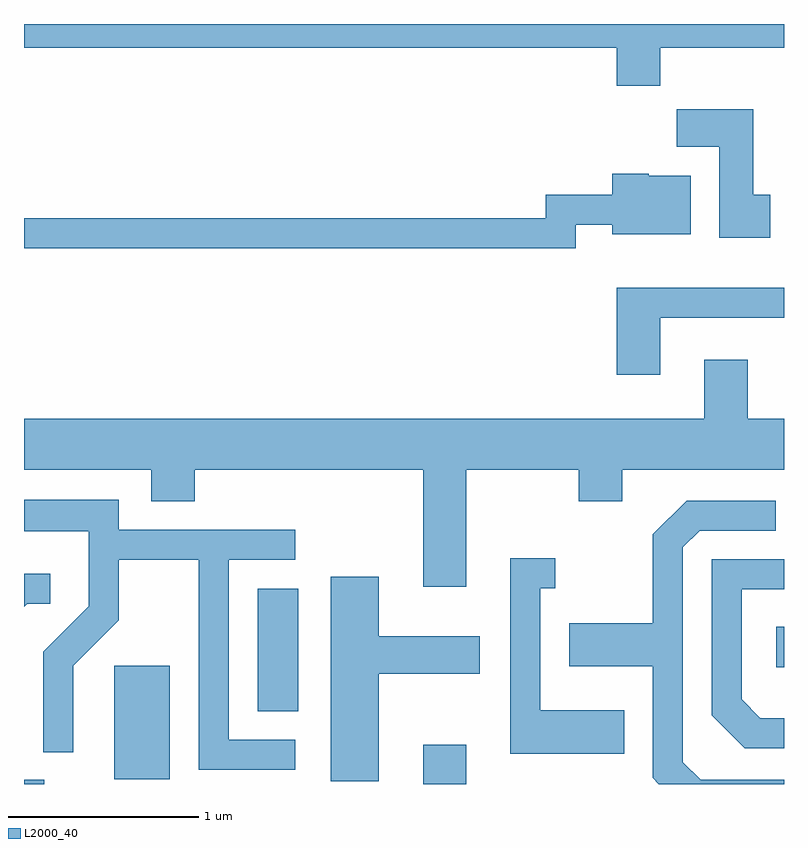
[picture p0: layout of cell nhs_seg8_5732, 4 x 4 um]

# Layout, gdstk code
import gdstk
lib = gdstk.Library(unit=1e-6, precision=1e-09)
def R(c, l, rs):  # rectangles x0, y0, x1, y1
    for r in rs: c.add(gdstk.rectangle(r[:2], r[2:], *l))
def P(c, l, *ps):  # polygons
    for p in ps: c.add(gdstk.Polygon(p, *l))
L2000_40 = (2000, 40)

nhs_seg8_5732 = lib.new_cell('nhs_seg8_5732')
R(nhs_seg8_5732, L2000_40, [(357.611,1810.342,357.718,1810.364), (359.711,1810.342,359.939,1810.549), (358.086,1810.366,358.379,1810.964), (358.841,1810.726,359.054,1811.369), (361.571,1810.956,361.611,1811.169)])
P(nhs_seg8_5732, L2000_40, [(360.959,1814.216),(361.611,1814.216),(361.611,1814.342),(357.611,1814.342),(357.611,1814.216),(360.731,1814.216),(360.731,1814.016),(360.959,1814.016)],
  [(361.539,1813.444),(361.449,1813.444),(361.449,1813.894),(361.046,1813.894),(361.046,1813.696),(361.271,1813.696),(361.271,1813.216),(361.539,1813.216)],
  [(360.514,1813.286),(360.706,1813.286),(360.706,1813.236),(361.119,1813.236),(361.119,1813.544),(360.9,1813.544),(360.9,1813.554),(360.706,1813.554),(360.706,1813.444),(360.356,1813.444),(360.356,1813.319),(357.611,1813.319),(357.611,1813.161),(360.514,1813.161)],
  [(360.959,1812.796),(361.611,1812.796),(361.611,1812.954),(360.731,1812.954),(360.731,1812.496),(360.959,1812.496)],
  [(359.939,1811.996),(360.531,1811.996),(360.531,1811.831),(360.759,1811.831),(360.759,1811.996),(361.611,1811.996),(361.611,1812.264),(361.419,1812.264),(361.419,1812.574),(361.191,1812.574),(361.191,1812.264),(357.611,1812.264),(357.611,1811.996),(358.281,1811.996),(358.281,1811.831),(358.509,1811.831),(358.509,1811.996),(359.711,1811.996),(359.711,1811.381),(359.939,1811.381)],
  [(359.038,1810.574),(358.689,1810.574),(358.689,1811.521),(359.038,1811.521),(359.038,1811.679),(358.109,1811.679),(358.109,1811.839),(357.611,1811.839),(357.611,1811.671),(357.951,1811.671),(357.951,1811.277),(357.711,1811.037),(357.711,1810.508),(357.869,1810.508),(357.869,1810.964),(358.109,1811.204),(358.109,1811.521),(358.531,1811.521),(358.531,1810.416),(359.038,1810.416)],
  [(361.611,1810.364),(361.172,1810.364),(361.079,1810.457),(361.079,1811.589),(361.167,1811.676),(361.568,1811.676),(361.568,1811.834),(361.099,1811.834),(360.921,1811.657),(360.921,1811.189),(360.481,1811.189),(360.481,1810.961),(360.921,1810.961),(360.921,1810.374),(360.953,1810.342),(361.611,1810.342)],
  [(360.769,1810.729),(360.329,1810.729),(360.329,1811.371),(360.408,1811.371),(360.408,1811.529),(360.171,1811.529),(360.171,1810.501),(360.769,1810.501)],
  [(361.611,1810.689),(361.487,1810.689),(361.389,1810.787),(361.389,1811.366),(361.611,1811.366),(361.611,1811.524),(361.231,1811.524),(361.231,1810.704),(361.404,1810.531),(361.611,1810.531)],
  [(357.627,1811.291),(357.748,1811.291),(357.748,1811.449),(357.611,1811.449),(357.611,1811.275)],
  [(359.479,1810.921),(360.009,1810.921),(360.009,1811.119),(359.479,1811.119),(359.479,1811.434),(359.226,1811.434),(359.226,1810.356),(359.479,1810.356)])

lib.write_gds('nhs_seg8_5732.gds')
